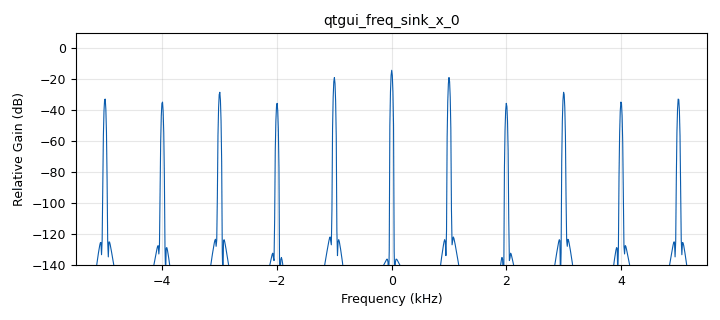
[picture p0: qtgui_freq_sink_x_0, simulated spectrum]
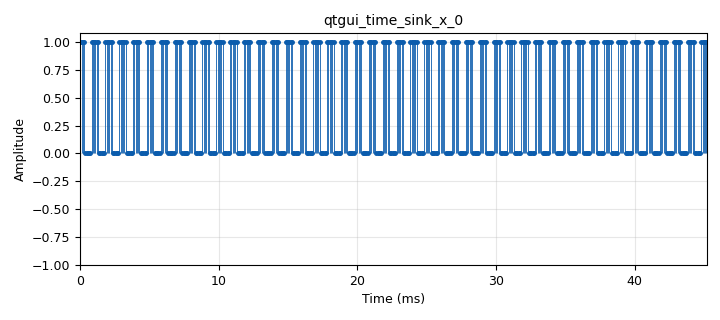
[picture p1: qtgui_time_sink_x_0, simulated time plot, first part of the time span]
options:
  parameters:
    author: Diego_Espinel_Diego_Garcia_G1C_02
    generate_options: qt_gui
    id: Lab1_punto2
    output_language: python
    title: Lab1_Punto2_Muestreo
  states: {}

blocks:
- name: freq
  id: variable_qtgui_range
  parameters:
    label: Frequency Signal
    start: '1000'
    step: '1000'
    stop: '40000'
    value: '1000'
  states: {}
- name: samp_rate
  id: variable
  parameters:
    value: '32000'
  states: {state: disabled}
- name: samp_rate
  id: variable_qtgui_range
  parameters:
    label: Frecuencia de Muestreo
    start: '1000'
    step: '1000'
    stop: '80000'
    value: '11000'
  states: {}
- name: Tab
  id: qtgui_tab_widget
  parameters:
    label0: Time
    label1: Frequency
    num_tabs: '2'
  states: {}
- name: analog_sig_source_x_0
  id: analog_sig_source_x
  parameters:
    amp: '1'
    freq: freq
    offset: '0'
    phase: '0'
    samp_rate: samp_rate
    type: float
    waveform: analog.GR_SQR_WAVE
  states: {}
- name: blocks_throttle_0
  id: blocks_throttle
  parameters:
    samples_per_second: samp_rate
    type: float
  states: {}
- name: qtgui_freq_sink_x_0
  id: qtgui_freq_sink_x
  parameters:
    bw: samp_rate
    fc: '0'
    fftsize: '1024'
    gui_hint: Tab@1
    type: float
  states: {}
- name: qtgui_time_sink_x_0
  id: qtgui_time_sink_x
  parameters:
    grid: 'True'
    gui_hint: Tab@0
    size: '1024'
    srate: samp_rate
    stemplot: 'True'
    type: float
  states: {}

connections:
- [analog_sig_source_x_0, '0', blocks_throttle_0, '0']
- [blocks_throttle_0, '0', qtgui_freq_sink_x_0, '0']
- [blocks_throttle_0, '0', qtgui_time_sink_x_0, '0']

metadata:
  file_format: 1
